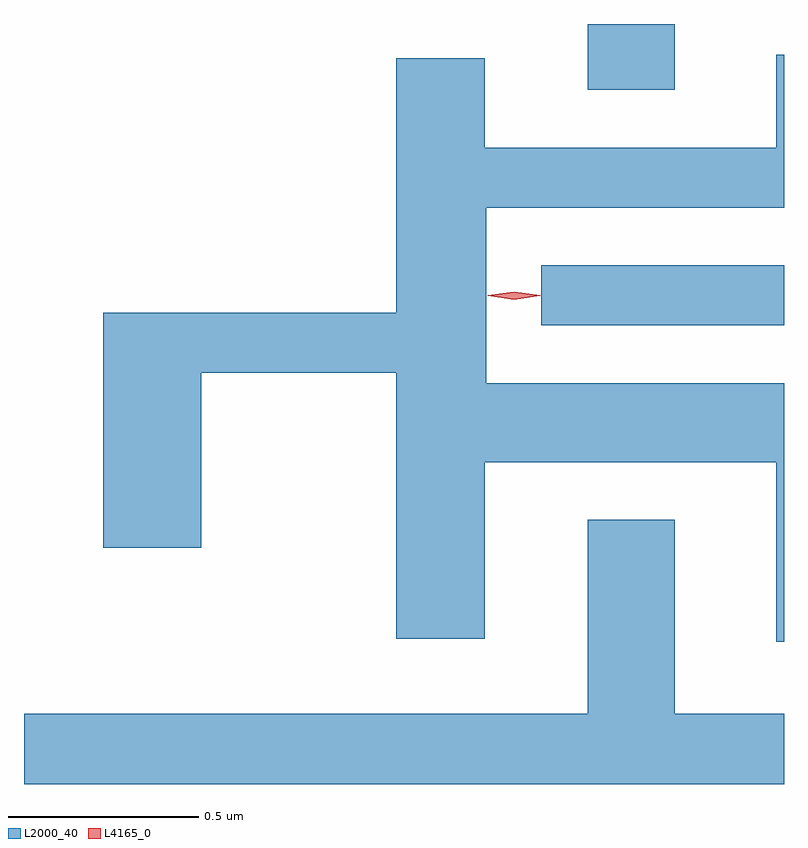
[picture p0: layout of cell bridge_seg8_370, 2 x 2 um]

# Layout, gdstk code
import gdstk
lib = gdstk.Library(unit=1e-6, precision=1e-09)
def R(c, l, rs):  # rectangles x0, y0, x1, y1
    for r in rs: c.add(gdstk.rectangle(r[:2], r[2:], *l))
def P(c, l, *ps):  # polygons
    for p in ps: c.add(gdstk.Polygon(p, *l))
L2000_40 = (2000, 40)
L4165_0 = (4165, 0)

bridge_seg8_370 = lib.new_cell('bridge_seg8_370')
R(bridge_seg8_370, L2000_40, [(823.218,1937.606,823.857,1937.764), (823.341,1938.226,823.569,1938.399)])
P(bridge_seg8_370, L2000_40, [(823.857,1937.454),(823.074,1937.454),(823.074,1937.916),(823.857,1937.916),(823.857,1938.318),(823.836,1938.318),(823.836,1938.074),(823.069,1938.074),(823.069,1938.309),(822.836,1938.309),(822.836,1937.639),(822.066,1937.639),(822.066,1937.021),(822.324,1937.021),(822.324,1937.481),(822.836,1937.481),(822.836,1936.781),(823.069,1936.781),(823.069,1937.246),(823.836,1937.246),(823.836,1936.773),(823.857,1936.773)],
  [(823.857,1936.584),(823.569,1936.584),(823.569,1937.094),(823.341,1937.094),(823.341,1936.584),(821.857,1936.584),(821.857,1936.399),(823.857,1936.399)])
P(bridge_seg8_370, L4165_0, [(823.147,1937.674),(823.082,1937.684),(823.081,1937.684),(823.082,1937.685),(823.147,1937.694),(823.212,1937.685),(823.213,1937.684),(823.212,1937.684)],
  [(823.147,1937.674),(823.077,1937.684),(823.077,1937.684),(823.077,1937.685),(823.147,1937.694),(823.216,1937.685),(823.216,1937.684),(823.216,1937.684)])

lib.write_gds('bridge_seg8_370.gds')
